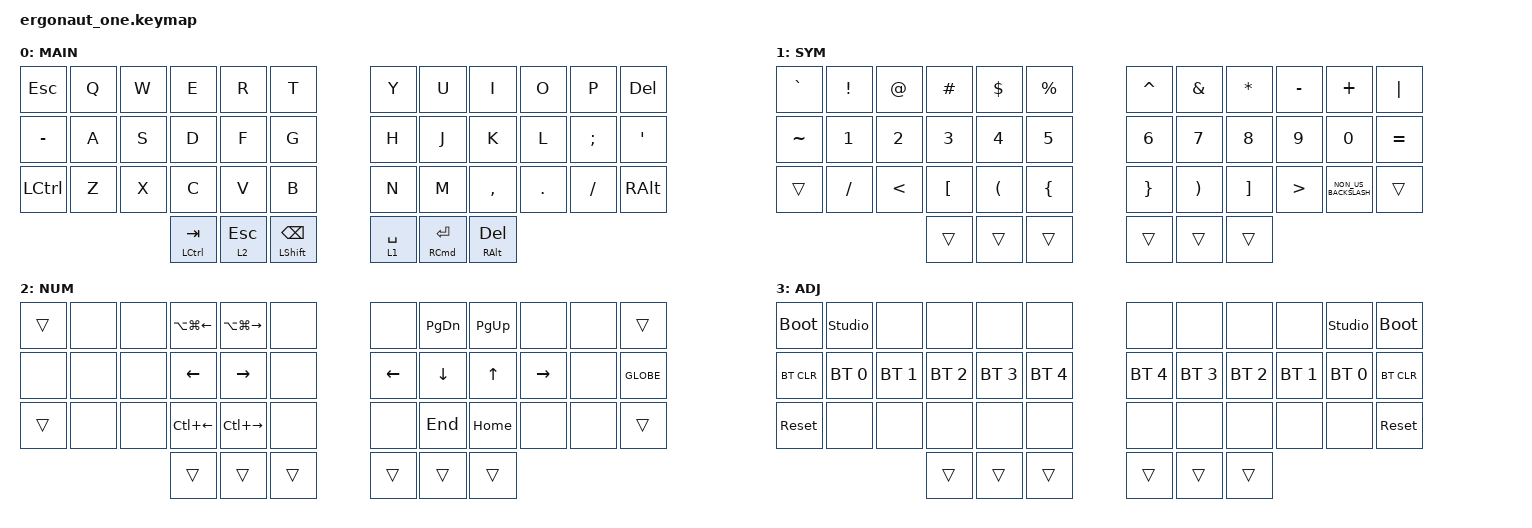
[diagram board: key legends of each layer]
#include <behaviors.dtsi>
#include <dt-bindings/zmk/bt.h>
#include <dt-bindings/zmk/keys.h>

#define DEF 0
#define LWR 1
#define RSE 2
#define ADJ 3

&lt { quick-tap-ms = <200>; };

&mt { quick-tap-ms = <200>; };

/ {
    conditional_layers {
        compatible = "zmk,conditional-layers";

        tri-layer {
            if-layers = <1 2>;
            then-layer = <3>;
        };
    };

    combos {
        compatible = "zmk,combos";

        toggle-nav {
            bindings = <&tog 2>;
            key-positions = <21 20 19>;
        };

        tab-combo {
            bindings = <&kp TAB>;
            key-positions = <16 15 14>;
        };
    };

    keymap {
        compatible = "zmk,keymap";

        default_layer {
            display-name = "MAIN";
            bindings = <
&kp ESCAPE        &kp Q  &kp W  &kp E                 &kp R         &kp T                     &kp Y        &kp U                    &kp I              &kp O    &kp P          &kp DELETE
&kp MINUS         &kp A  &kp S  &kp D                 &kp F         &kp G                     &kp H        &kp J                    &kp K              &kp L    &kp SEMICOLON  &kp SQT
&kp LEFT_CONTROL  &kp Z  &kp X  &kp C                 &kp V         &kp B                     &kp N        &kp M                    &kp COMMA          &kp DOT  &kp FSLH       &kp RIGHT_ALT
                                &mt LEFT_CONTROL TAB  &lt 2 ESCAPE  &mt LEFT_SHIFT BACKSPACE  &lt 1 SPACE  &mt RIGHT_COMMAND ENTER  &mt RIGHT_ALT DEL
            >;
        };

        sym_layer {
            display-name = "SYM";
            bindings = <
&kp GRAVE  &kp EXCLAMATION  &kp AT_SIGN    &kp HASH          &kp DOLLAR            &kp PERCENT     &kp CARET        &kp AMPERSAND          &kp ASTERISK       &kp MINUS         &kp PLUS              &kp PIPE
&kp TILDE  &kp NUMBER_1     &kp NUMBER_2   &kp NUMBER_3      &kp NUMBER_4          &kp N5          &kp NUMBER_6     &kp N7                 &kp N8             &kp N9            &kp N0                &kp EQUAL
&trans     &kp SLASH        &kp LESS_THAN  &kp LEFT_BRACKET  &kp LEFT_PARENTHESIS  &kp LEFT_BRACE  &kp RIGHT_BRACE  &kp RIGHT_PARENTHESIS  &kp RIGHT_BRACKET  &kp GREATER_THAN  &kp NON_US_BACKSLASH  &trans
                                           &trans            &trans                &trans          &trans           &trans                 &trans
            >;
        };

        nav_layer {
            display-name = "NUM";
            bindings = <
&trans  &none  &none  &kp LA(LG(LEFT_ARROW))  &kp LA(LG(RIGHT))    &none   &none           &kp PAGE_DOWN  &kp PAGE_UP  &none            &none  &trans
&none   &none  &none  &kp LEFT                &kp RIGHT            &none   &kp LEFT_ARROW  &kp DOWN       &kp UP       &kp RIGHT_ARROW  &none  &kp GLOBE
&trans  &none  &none  &kp LC(LEFT_ARROW)      &kp LC(RIGHT_ARROW)  &none   &none           &kp END        &kp HOME     &none            &none  &trans
                      &trans                  &trans               &trans  &trans          &trans         &trans
            >;
        };

        adjust_layer {
            display-name = "ADJ";
            bindings = <
&bootloader  &studio_unlock  &none         &none         &none         &none         &none         &none         &none         &none         &studio_unlock  &bootloader
&bt BT_CLR   &bt BT_SEL 0    &bt BT_SEL 1  &bt BT_SEL 2  &bt BT_SEL 3  &bt BT_SEL 4  &bt BT_SEL 4  &bt BT_SEL 3  &bt BT_SEL 2  &bt BT_SEL 1  &bt BT_SEL 0    &bt BT_CLR
&sys_reset   &none           &none         &none         &none         &none         &none         &none         &none         &none         &none           &sys_reset
                                           &trans        &trans        &trans        &trans        &trans        &trans
            >;
        };
    };
};
